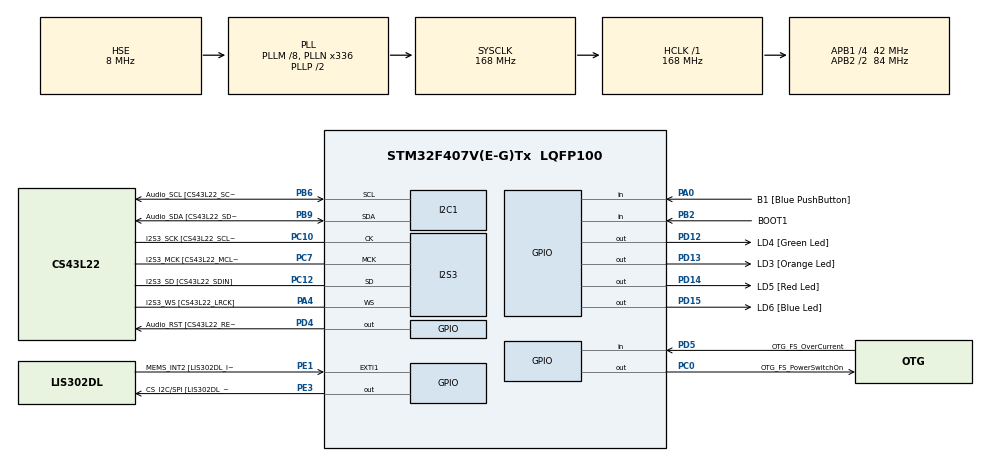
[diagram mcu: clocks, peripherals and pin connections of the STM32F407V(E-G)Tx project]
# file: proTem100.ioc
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Dma.Request0=SPI3_TX
Dma.SPI3_TX.0.Direction=DMA_MEMORY_TO_PERIPH
Dma.SPI3_TX.0.FIFOMode=DMA_FIFOMODE_DISABLE
Dma.SPI3_TX.0.Instance=DMA1_Stream5
Dma.SPI3_TX.0.MemDataAlignment=DMA_MDATAALIGN_HALFWORD
Dma.SPI3_TX.0.MemInc=DMA_MINC_ENABLE
Dma.SPI3_TX.0.Mode=DMA_CIRCULAR
Dma.SPI3_TX.0.PeriphDataAlignment=DMA_PDATAALIGN_HALFWORD
Dma.SPI3_TX.0.PeriphInc=DMA_PINC_DISABLE
Dma.SPI3_TX.0.Priority=DMA_PRIORITY_LOW
I2S3.AudioFreq-Half_Duplex_Master=I2S_AUDIOFREQ_96K
I2S3.ErrorAudioFreq=-2.34 %
I2S3.ErrorAudioFreq-Half_Duplex_Master=0.8 %
I2S3.FullDuplexMode=I2S_FULLDUPLEXMODE_DISABLE
I2S3.Instance=SPI$Index
I2S3.RealAudioFreq=93.75 KHz
I2S3.RealAudioFreq-Half_Duplex_Master=96.774 KHz
I2S3.VirtualMode=I2S_MODE_MASTER
Mcu.Family=STM32F4
Mcu.Name=STM32F407V(E-G)Tx
Mcu.Package=LQFP100
NVIC.DMA1_Stream5_IRQn=true\:0\:0\:false\:false\:true\:false\:true\:true
NVIC.PriorityGroup=NVIC_PRIORITYGROUP_0
NVIC.TIM7_IRQn=true\:0\:0\:false\:false\:true\:true\:true\:true
PA0-WKUP.GPIO_Label=B1 [Blue PushButton]
PA0-WKUP.Signal=GPIO_Input
PA13.GPIO_Label=SWDIO
PA13.Mode=Serial_Wire
PA13.Signal=SYS_JTMS-SWDIO
PA14.GPIO_Label=SWCLK
PA14.Mode=Serial_Wire
PA14.Signal=SYS_JTCK-SWCLK
PA4.GPIO_Label=I2S3_WS [CS43L22_LRCK]
PA4.GPIO_Mode=GPIO_MODE_AF_PP
PA4.GPIO_PuPd=GPIO_NOPULL
PA4.GPIO_Speed=GPIO_SPEED_FREQ_LOW
PA4.Mode=Half_Duplex_Master
PA4.Signal=I2S3_WS
PB2.GPIO_Label=BOOT1
PB2.GPIO_Mode=GPIO_MODE_INPUT
PB2.GPIO_PuPd=GPIO_NOPULL
PB2.Signal=GPIO_Input
PB3.GPIO_Label=SWO
PB3.Signal=SYS_JTDO-SWO
PB6.GPIO_Label=Audio_SCL [CS43L22_SCL]
PB6.GPIO_Mode=GPIO_MODE_AF_OD
PB6.GPIO_Pu=GPIO_PULLUP
PB6.GPIO_PuPd=GPIO_NOPULL
PB6.GPIO_Speed=GPIO_SPEED_FREQ_LOW
PB6.Mode=I2C
PB6.Signal=I2C1_SCL
PB9.GPIO_Label=Audio_SDA [CS43L22_SDA]
PB9.GPIO_Mode=GPIO_MODE_AF_OD
PB9.GPIO_Pu=GPIO_PULLUP
PB9.GPIO_PuPd=GPIO_NOPULL
PB9.GPIO_Speed=GPIO_SPEED_FREQ_LOW
PB9.Mode=I2C
PB9.Signal=I2C1_SDA
PC0.GPIO_Label=OTG_FS_PowerSwitchOn
PC0.GPIO_PuPd=GPIO_NOPULL
PC0.GPIO_Speed=GPIO_SPEED_FREQ_LOW
PC0.PinState=GPIO_PIN_SET
PC0.Signal=GPIO_Output
PC10.GPIO_Label=I2S3_SCK [CS43L22_SCLK]
PC10.GPIO_Mode=GPIO_MODE_AF_PP
PC10.GPIO_PuPd=GPIO_NOPULL
PC10.GPIO_Speed=GPIO_SPEED_FREQ_LOW
PC10.Mode=Half_Duplex_Master
PC10.Signal=I2S3_CK
PC12.GPIO_Label=I2S3_SD [CS43L22_SDIN]
PC12.GPIO_Mode=GPIO_MODE_AF_PP
PC12.GPIO_PuPd=GPIO_NOPULL
PC12.GPIO_Speed=GPIO_SPEED_FREQ_LOW
PC12.Mode=Half_Duplex_Master
PC12.Signal=I2S3_SD
PC14-OSC32_IN.GPIO_Label=PC14-OSC32_IN
PC14-OSC32_IN.Mode=LSE-External-Oscillator
PC14-OSC32_IN.Signal=RCC_OSC32_IN
PC15-OSC32_OUT.GPIO_Label=PC15-OSC32_OUT
PC15-OSC32_OUT.Mode=LSE-External-Oscillator
PC15-OSC32_OUT.Signal=RCC_OSC32_OUT
PC7.GPIO_Label=I2S3_MCK [CS43L22_MCLK]
PC7.GPIO_Mode=GPIO_MODE_AF_PP
PC7.GPIO_PuPd=GPIO_NOPULL
PC7.GPIO_Speed=GPIO_SPEED_FREQ_LOW
PC7.Mode=Master_Clock_Activated
PC7.Signal=I2S3_MCK
PD12.GPIO_Label=LD4 [Green Led]
PD12.GPIO_PuPd=GPIO_NOPULL
PD12.GPIO_Speed=GPIO_SPEED_FREQ_LOW
PD12.Signal=GPIO_Output
PD13.GPIO_Label=LD3 [Orange Led]
PD13.GPIO_PuPd=GPIO_NOPULL
PD13.GPIO_Speed=GPIO_SPEED_FREQ_LOW
PD13.Signal=GPIO_Output
PD14.GPIO_Label=LD5 [Red Led]
PD14.GPIO_PuPd=GPIO_NOPULL
PD14.GPIO_Speed=GPIO_SPEED_FREQ_LOW
PD14.Signal=GPIO_Output
PD15.GPIO_Label=LD6 [Blue Led]
PD15.GPIO_PuPd=GPIO_NOPULL
PD15.GPIO_Speed=GPIO_SPEED_FREQ_LOW
PD15.Signal=GPIO_Output
PD4.GPIO_Label=Audio_RST [CS43L22_RESET]
PD4.GPIO_PuPd=GPIO_NOPULL
PD4.GPIO_Speed=GPIO_SPEED_FREQ_LOW
PD4.Signal=GPIO_Output
PD5.GPIO_Label=OTG_FS_OverCurrent
PD5.GPIO_Mode=GPIO_MODE_INPUT
PD5.GPIO_PuPd=GPIO_NOPULL
PD5.Signal=GPIO_Input
PE1.GPIO_Label=MEMS_INT2 [LIS302DL_INT2]
PE1.GPIO_ModeDefaultEXTI=GPIO_MODE_EVT_RISING
PE1.GPIO_PuPd=GPIO_NOPULL
PE1.Signal=GPXTI1
PE3.GPIO_Label=CS_I2C/SPI [LIS302DL_CS_I2C/SPI]
PE3.GPIO_PuPd=GPIO_NOPULL
PE3.GPIO_Speed=GPIO_SPEED_FREQ_LOW
PE3.Signal=GPIO_Output
PH0-OSC_IN.GPIO_Label=PH0-OSC_IN
PH0-OSC_IN.Mode=HSE-External-Oscillator
PH0-OSC_IN.Signal=RCC_OSC_IN
PH1-OSC_OUT.GPIO_Label=PH1-OSC_OUT
PH1-OSC_OUT.Mode=HSE-External-Oscillator
PH1-OSC_OUT.Signal=RCC_OSC_OUT
ProjectManager.HeapSize=0x200
ProjectManager.StackSize=0x400
ProjectManager.TargetToolchain=STM32CubeIDE
RCC.48MHZClocksFreq_Value=48000000
RCC.AHBFreq_Value=168000000
RCC.APB1CLKDivider=RCC_HCLK_DIV4
RCC.APB1Freq_Value=42000000
RCC.APB1TimFreq_Value=84000000
RCC.APB2CLKDivider=RCC_HCLK_DIV2
RCC.APB2Freq_Value=84000000
RCC.APB2TimFreq_Value=168000000
RCC.CortexFreq_Value=168000000
RCC.HCLKFreq_Value=168000000
RCC.HSE_VALUE=8000000
RCC.HSI_VALUE=16000000
RCC.PLLM=8
RCC.PLLN=336
RCC.PLLQ=7
RCC.PLLSourceVirtual=RCC_PLLSOURCE_HSE
RCC.SYSCLKFreq_VALUE=168000000
RCC.SYSCLKSource=RCC_SYSCLKSOURCE_PLLCLK
RCC.VCOOutputFreq_Value=336000000
TIM7.Period=4999
TIM7.Prescaler=8399
TIM7.TIM_MasterOutputTrigger=TIM_TRGO_UPDATE
VP_TIM7_VS_ClockSourceINT.Mode=Enable_Timer
board=STM32F407G-DISC1

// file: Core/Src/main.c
/* USER CODE BEGIN Header */
/**
 ******************************************************************************
 * @file           : main.c
 * @brief          : Main program body
 ******************************************************************************
 * @attention
 *
 * Copyright (c) 2026 STMicroelectronics.
 * All rights reserved.
 *
 * This software is licensed under terms that can be found in the LICENSE file
 * in the root directory of this software component.
 * If no LICENSE file comes with this software, it is provided AS-IS.
 *
 ******************************************************************************
 */
/* USER CODE END Header */
#include "main.h"

/* USER CODE BEGIN Includes */
#include "audio_signals.h"
#include "CS43L22.h"
#include "userErrorsHandler.h"
/* USER CODE END Includes */

I2C_HandleTypeDef hi2c1;
I2S_HandleTypeDef hi2s3;
DMA_HandleTypeDef hdma_spi3_tx;

TIM_HandleTypeDef htim7;

/* USER CODE BEGIN PV */
#define AUDIO_RAM_MAX_LEN  AUDIO_100HZ_LEN
#define PLAYLIST_INDEX 5

static uint16_t audio_ram_buf[AUDIO_RAM_MAX_LEN];
static uint8_t isFilterEnabled = 0U;
/* USER CODE END PV */

void SystemClock_Config(void);
static void MX_GPIO_Init(void);
static void MX_DMA_Init(void);
static void MX_I2C1_Init(void);
static void MX_I2S3_Init(void);
static void MX_TIM7_Init(void);

/* USER CODE BEGIN 0 */
static void Audio_CopyToRam(const uint16_t *in_stereo, uint16_t *out_stereo,
		uint16_t len_halfwords) {
	for (uint16_t i = 0; i < len_halfwords; i++) {
		out_stereo[i] = in_stereo[i];
	}
}

static void Audio_LowPassFilter_400Hz(const uint16_t *in_stereo, uint16_t *out_stereo, uint16_t len_halfwords) {
	/* fs = 96000 Hz, fc = 400 Hz -> alpha = (2*pi*fc) / (fs + 2*pi*fc) */
	const float alpha = 0.0255106f;
	float y_prev_l = 0.0f;
	float y_prev_r = 0.0f;

	for (uint16_t i = 0; i + 1 < len_halfwords; i += 2) {
		float x_l = (float) ((int16_t) in_stereo[i]);
		float x_r = (float) ((int16_t) in_stereo[i + 1]);

		y_prev_l = y_prev_l + alpha * (x_l - y_prev_l);
		y_prev_r = y_prev_r + alpha * (x_r - y_prev_r);

		out_stereo[i] = (uint16_t) ((int16_t) y_prev_l);
		out_stereo[i + 1] = (uint16_t) ((int16_t) y_prev_r);
	}
}

static void Audio_ApplyOutputBuffer(uint8_t use_filter, uint16_t *active_flash_signal, uint16_t active_flash_len) {
	if (use_filter != 0U) {
		Audio_LowPassFilter_400Hz(active_flash_signal, audio_ram_buf, active_flash_len);
	} else {
		Audio_CopyToRam(active_flash_signal, audio_ram_buf, active_flash_len);
	}

	HAL_I2S_DMAStop(&hi2s3);
	HAL_I2S_Transmit_DMA(&hi2s3, audio_ram_buf, active_flash_len);
}

/* USER CODE END 0 */

int main(void) {

	/* MCU Configuration--------------------------------------------------------*/

	/* Reset of all peripherals, Initializes the Flash interface and the Systick. */
	HAL_Init();

	/* Configure the system clock */
	SystemClock_Config();

	/* Initialize all configured peripherals */
	MX_GPIO_Init();
	MX_DMA_Init();
	MX_I2C1_Init();
	MX_I2S3_Init();
	MX_TIM7_Init();
	/* USER CODE BEGIN 2 */
	HAL_GPIO_WritePin(LD6_GPIO_Port, LD6_Pin, GPIO_PIN_SET);
	HAL_TIM_Base_Start_IT(&htim7);

	uint8_t playListIndex = PLAYLIST_INDEX;
	if(playListIndex >= PLAYLIST_COUNT) {
		userErrorHandler(1);
	}

	const uint16_t *pDigitalAudioData = playList[playListIndex].data;
	uint16_t audioSize = playList[playListIndex].length;

	uint16_t codec_addr = CS43L22_DetectAndInit();
	if (codec_addr != 0) {
		HAL_GPIO_WritePin(LD5_GPIO_Port, LD5_Pin, GPIO_PIN_RESET);
		HAL_I2S_Transmit_DMA(&hi2s3, pDigitalAudioData, audioSize);
		isFilterEnabled = 0U;
		Audio_ApplyOutputBuffer(isFilterEnabled, pDigitalAudioData, audioSize);
	} else {
		userErrorHandler(2);
	}
	/* USER CODE END 2 */

	/* Infinite loop */
	/* USER CODE BEGIN WHILE */
	GPIO_PinState current_btn_state;
	GPIO_PinState last_btn_state = GPIO_PIN_RESET;
	uint32_t last_debounce_ms = 0U;
	uint8_t isDebounceEnough;
	while (1) {
		/* USER CODE END WHILE */

		/* USER CODE BEGIN 3 */
		current_btn_state = HAL_GPIO_ReadPin(B1_GPIO_Port, B1_Pin);
		isDebounceEnough = HAL_GetTick() - last_debounce_ms > 150U;
		if (current_btn_state && !last_btn_state && isDebounceEnough) {
				last_debounce_ms = HAL_GetTick();
				isFilterEnabled = !isFilterEnabled;
				HAL_GPIO_TogglePin(LD5_GPIO_Port, LD5_Pin);
				Audio_ApplyOutputBuffer(isFilterEnabled, pDigitalAudioData, audioSize);
		}

		last_btn_state = current_btn_state;

	}
	/* USER CODE END 3 */
}

void SystemClock_Config(void) {
	RCC_OscInitTypeDef RCC_OscInitStruct = { 0 };
	RCC_ClkInitTypeDef RCC_ClkInitStruct = { 0 };

	/** Configure the main internal regulator output voltage
	 */
	__HAL_RCC_PWR_CLK_ENABLE();
	__HAL_PWR_VOLTAGESCALING_CONFIG(PWR_REGULATOR_VOLTAGE_SCALE1);

	/** Initializes the RCC Oscillators according to the specified parameters
	 * in the RCC_OscInitTypeDef structure.
	 */
	RCC_OscInitStruct.OscillatorType = RCC_OSCILLATORTYPE_HSE;
	RCC_OscInitStruct.HSEState = RCC_HSE_ON;
	RCC_OscInitStruct.PLL.PLLState = RCC_PLL_ON;
	RCC_OscInitStruct.PLL.PLLSource = RCC_PLLSOURCE_HSE;
	RCC_OscInitStruct.PLL.PLLM = 8;
	RCC_OscInitStruct.PLL.PLLN = 336;
	RCC_OscInitStruct.PLL.PLLP = RCC_PLLP_DIV2;
	RCC_OscInitStruct.PLL.PLLQ = 7;
	if (HAL_RCC_OscConfig(&RCC_OscInitStruct) != HAL_OK) {
		Error_Handler();
	}

	/** Initializes the CPU, AHB and APB buses clocks
	 */
	RCC_ClkInitStruct.ClockType = RCC_CLOCKTYPE_HCLK | RCC_CLOCKTYPE_SYSCLK
			| RCC_CLOCKTYPE_PCLK1 | RCC_CLOCKTYPE_PCLK2;
	RCC_ClkInitStruct.SYSCLKSource = RCC_SYSCLKSOURCE_PLLCLK;
	RCC_ClkInitStruct.AHBCLKDivider = RCC_SYSCLK_DIV1;
	RCC_ClkInitStruct.APB1CLKDivider = RCC_HCLK_DIV4;
	RCC_ClkInitStruct.APB2CLKDivider = RCC_HCLK_DIV2;

	if (HAL_RCC_ClockConfig(&RCC_ClkInitStruct, FLASH_LATENCY_5) != HAL_OK) {
		Error_Handler();
	}
}

static void MX_I2C1_Init(void) {

	hi2c1.Instance = I2C1;
	hi2c1.Init.ClockSpeed = 100000;
	hi2c1.Init.DutyCycle = I2C_DUTYCYCLE_2;
	hi2c1.Init.OwnAddress1 = 0;
	hi2c1.Init.AddressingMode = I2C_ADDRESSINGMODE_7BIT;
	hi2c1.Init.DualAddressMode = I2C_DUALADDRESS_DISABLE;
	hi2c1.Init.OwnAddress2 = 0;
	hi2c1.Init.GeneralCallMode = I2C_GENERALCALL_DISABLE;
	hi2c1.Init.NoStretchMode = I2C_NOSTRETCH_DISABLE;
	if (HAL_I2C_Init(&hi2c1) != HAL_OK) {
		Error_Handler();
	}

}

static void MX_I2S3_Init(void) {

	hi2s3.Instance = SPI3;
	hi2s3.Init.Mode = I2S_MODE_MASTER_TX;
	hi2s3.Init.Standard = I2S_STANDARD_PHILIPS;
	hi2s3.Init.DataFormat = I2S_DATAFORMAT_16B;
	hi2s3.Init.MCLKOutput = I2S_MCLKOUTPUT_ENABLE;
	hi2s3.Init.AudioFreq = I2S_AUDIOFREQ_96K;
	hi2s3.Init.CPOL = I2S_CPOL_LOW;
	hi2s3.Init.ClockSource = I2S_CLOCK_PLL;
	hi2s3.Init.FullDuplexMode = I2S_FULLDUPLEXMODE_DISABLE;
	if (HAL_I2S_Init(&hi2s3) != HAL_OK) {
		Error_Handler();
	}

}

static void MX_TIM7_Init(void) {

	TIM_MasterConfigTypeDef sMasterConfig = { 0 };

	htim7.Instance = TIM7;
	htim7.Init.Prescaler = 8399;
	htim7.Init.CounterMode = TIM_COUNTERMODE_UP;
	htim7.Init.Period = 4999;
	htim7.Init.AutoReloadPreload = TIM_AUTORELOAD_PRELOAD_DISABLE;
	if (HAL_TIM_Base_Init(&htim7) != HAL_OK) {
		Error_Handler();
	}
	sMasterConfig.MasterOutputTrigger = TIM_TRGO_UPDATE;
	sMasterConfig.MasterSlaveMode = TIM_MASTERSLAVEMODE_DISABLE;
	if (HAL_TIMEx_MasterConfigSynchronization(&htim7, &sMasterConfig)
			!= HAL_OK) {
		Error_Handler();
	}

}

static void MX_DMA_Init(void) {

	/* DMA controller clock enable */
	__HAL_RCC_DMA1_CLK_ENABLE();

	/* DMA interrupt init */
	/* DMA1_Stream5_IRQn interrupt configuration */
	HAL_NVIC_SetPriority(DMA1_Stream5_IRQn, 0, 0);
	HAL_NVIC_EnableIRQ(DMA1_Stream5_IRQn);

}

static void MX_GPIO_Init(void) {
	GPIO_InitTypeDef GPIO_InitStruct = { 0 };

	/* GPIO Ports Clock Enable */
	__HAL_RCC_GPIOE_CLK_ENABLE();
	__HAL_RCC_GPIOC_CLK_ENABLE();
	__HAL_RCC_GPIOH_CLK_ENABLE();
	__HAL_RCC_GPIOA_CLK_ENABLE();
	__HAL_RCC_GPIOB_CLK_ENABLE();
	__HAL_RCC_GPIOD_CLK_ENABLE();

	/*Configure GPIO pin Output Level */
	HAL_GPIO_WritePin(CS_I2C_SPI_GPIO_Port, CS_I2C_SPI_Pin, GPIO_PIN_RESET);

	/*Configure GPIO pin Output Level */
	HAL_GPIO_WritePin(OTG_FS_PowerSwitchOn_GPIO_Port, OTG_FS_PowerSwitchOn_Pin,
			GPIO_PIN_SET);

	/*Configure GPIO pin Output Level */
	HAL_GPIO_WritePin(GPIOD,
	LD4_Pin | LD3_Pin | LD5_Pin | LD6_Pin | Audio_RST_Pin, GPIO_PIN_RESET);

	/*Configure GPIO pin : CS_I2C_SPI_Pin */
	GPIO_InitStruct.Pin = CS_I2C_SPI_Pin;
	GPIO_InitStruct.Mode = GPIO_MODE_OUTPUT_PP;
	GPIO_InitStruct.Pull = GPIO_NOPULL;
	GPIO_InitStruct.Speed = GPIO_SPEED_FREQ_LOW;
	HAL_GPIO_Init(CS_I2C_SPI_GPIO_Port, &GPIO_InitStruct);

	/*Configure GPIO pin : OTG_FS_PowerSwitchOn_Pin */
	GPIO_InitStruct.Pin = OTG_FS_PowerSwitchOn_Pin;
	GPIO_InitStruct.Mode = GPIO_MODE_OUTPUT_PP;
	GPIO_InitStruct.Pull = GPIO_NOPULL;
	GPIO_InitStruct.Speed = GPIO_SPEED_FREQ_LOW;
	HAL_GPIO_Init(OTG_FS_PowerSwitchOn_GPIO_Port, &GPIO_InitStruct);

	/*Configure GPIO pin : B1_Pin */
	GPIO_InitStruct.Pin = B1_Pin;
	GPIO_InitStruct.Mode = GPIO_MODE_INPUT;
	GPIO_InitStruct.Pull = GPIO_NOPULL;
	HAL_GPIO_Init(B1_GPIO_Port, &GPIO_InitStruct);

	/*Configure GPIO pin : BOOT1_Pin */
	GPIO_InitStruct.Pin = BOOT1_Pin;
	GPIO_InitStruct.Mode = GPIO_MODE_INPUT;
	GPIO_InitStruct.Pull = GPIO_NOPULL;
	HAL_GPIO_Init(BOOT1_GPIO_Port, &GPIO_InitStruct);

	/*Configure GPIO pins : LD4_Pin LD3_Pin LD5_Pin LD6_Pin
	 Audio_RST_Pin */
	GPIO_InitStruct.Pin = LD4_Pin | LD3_Pin | LD5_Pin | LD6_Pin | Audio_RST_Pin;
	GPIO_InitStruct.Mode = GPIO_MODE_OUTPUT_PP;
	GPIO_InitStruct.Pull = GPIO_NOPULL;
	GPIO_InitStruct.Speed = GPIO_SPEED_FREQ_LOW;
	HAL_GPIO_Init(GPIOD, &GPIO_InitStruct);

	/*Configure GPIO pin : OTG_FS_OverCurrent_Pin */
	GPIO_InitStruct.Pin = OTG_FS_OverCurrent_Pin;
	GPIO_InitStruct.Mode = GPIO_MODE_INPUT;
	GPIO_InitStruct.Pull = GPIO_NOPULL;
	HAL_GPIO_Init(OTG_FS_OverCurrent_GPIO_Port, &GPIO_InitStruct);

	/*Configure GPIO pin : MEMS_INT2_Pin */
	GPIO_InitStruct.Pin = MEMS_INT2_Pin;
	GPIO_InitStruct.Mode = GPIO_MODE_EVT_RISING;
	GPIO_InitStruct.Pull = GPIO_NOPULL;
	HAL_GPIO_Init(MEMS_INT2_GPIO_Port, &GPIO_InitStruct);

}

/* USER CODE BEGIN 4 */
void HAL_TIM_PeriodElapsedCallback(TIM_HandleTypeDef *htim) {
	if (htim->Instance == TIM7) {
		HAL_GPIO_TogglePin(LD6_GPIO_Port, LD6_Pin);
	}
}
/* USER CODE END 4 */

void Error_Handler(void) {
	__disable_irq();
	while (1) {
	}
}
